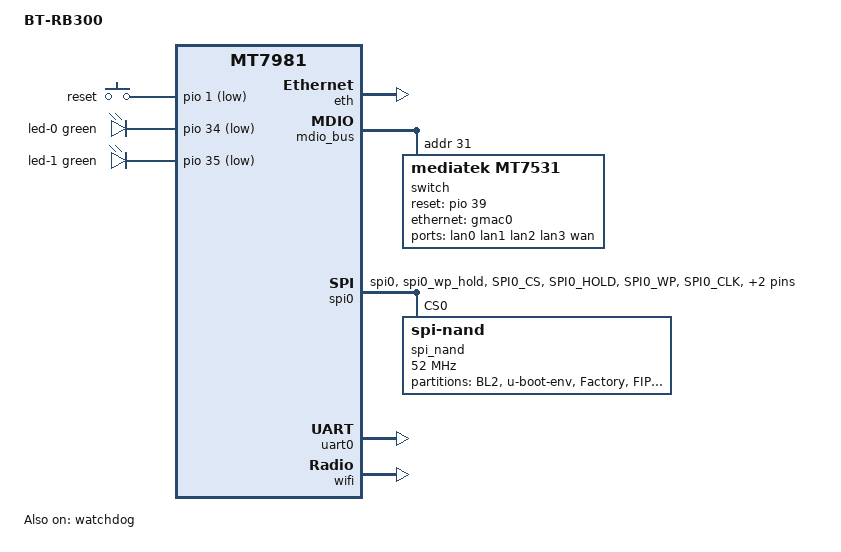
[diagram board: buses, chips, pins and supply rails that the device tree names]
// SPDX-License-Identifier: GPL-2.0-only OR MIT

/dts-v1/;
#include <dt-bindings/gpio/gpio.h>
#include <dt-bindings/input/input.h>
#include <dt-bindings/leds/common.h>

#include "mt7981b.dtsi"

/ {
	model = "BT-RB300";
	compatible = "bt,rb300", "mediatek,mt7981";

	aliases {
		label-mac-device = &gmac0;
		serial0 = &uart0;
	};

	chosen {
		rootdisk = <&ubi_rootdisk>;
		stdout-path = "serial0:115200n8";
	};

	gpio-keys {
		compatible = "gpio-keys";

		reset {
			label = "reset";
			gpios = <&pio 1 GPIO_ACTIVE_LOW>;
			linux,code = <KEY_RESTART>;
			debounce-interval = <60>;
		};
	};

	leds {
		compatible = "gpio-leds";

		led-0 {
			color = <LED_COLOR_ID_GREEN>;
			function = LED_FUNCTION_WLAN_2GHZ;
			gpios = <&pio 34 GPIO_ACTIVE_LOW>;
			linux,default-trigger = "phy0tpt";
		};

		led-1 {
			color = <LED_COLOR_ID_GREEN>;
			function = LED_FUNCTION_WLAN_5GHZ;
			gpios = <&pio 35 GPIO_ACTIVE_LOW>;
			linux,default-trigger = "phy1tpt";
		};
	};
};

&eth {
	status = "okay";

	gmac0: mac@0 {
		compatible = "mediatek,eth-mac";
		reg = <0>;
		phy-mode = "2500base-x";

		nvmem-cell-names = "mac-address";
		nvmem-cells = <&macaddr_factory_2a 0>;

		fixed-link {
			speed = <2500>;
			full-duplex;
			pause;
		};
	};
};

&mdio_bus {
	switch: switch@1f {
		compatible = "mediatek,mt7531";
		reg = <0x1f>;
		reset-gpios = <&pio 39 GPIO_ACTIVE_HIGH>;

		ports {
			#address-cells = <1>;
			#size-cells = <0>;

			port@0 {
				reg = <0>;
				label = "lan0";
			};

			port@1 {
				reg = <1>;
				label = "lan1";
			};

			port@2 {
				reg = <2>;
				label = "lan2";
			};

			port@3 {
				reg = <3>;
				label = "lan3";
			};

			port@4 {
				reg = <4>;
				label = "wan";

				nvmem-cell-names = "mac-address";
				nvmem-cells = <&macaddr_factory_24 0>;
			};

			port@6 {
				reg = <6>;
				ethernet = <&gmac0>;
				phy-mode = "2500base-x";

				fixed-link {
					speed = <2500>;
					full-duplex;
					pause;
				};
			};
		};
	};
};

&spi0 {
	pinctrl-names = "default";
	pinctrl-0 = <&spi0_flash_pins>;
	status = "okay";

	spi_nand: flash@0 {
		compatible = "spi-nand";
		reg = <0>;

		spi-max-frequency = <52000000>;
		spi-tx-bus-width = <4>;
		spi-rx-bus-width = <4>;

		mediatek,nmbm;
		mediatek,bmt-max-ratio = <1>;
		mediatek,bmt-max-reserved-blocks = <64>;

		partitions {
			compatible = "fixed-partitions";
			#address-cells = <1>;
			#size-cells = <1>;

			partition@0 {
				label = "BL2";
				reg = <0x000000 0x100000>;
				read-only;
			};

			partition@100000 {
				label = "u-boot-env";
				reg = <0x100000 0x080000>;
			};

			partition@180000 {
				label = "Factory";
				reg = <0x180000 0x200000>;
				read-only;

				nvmem-layout {
					compatible = "fixed-layout";
					#address-cells = <1>;
					#size-cells = <1>;

					eeprom_factory_0: eeprom@0 {
						reg = <0x0 0x1000>;
					};

					macaddr_factory_24: macaddr@24 {
						compatible = "mac-base";
						reg = <0x24 0x6>;
						#nvmem-cell-cells = <1>;
					};

					macaddr_factory_2a: macaddr@2a {
						compatible = "mac-base";
						reg = <0x2a 0x6>;
						#nvmem-cell-cells = <1>;
					};
				};
			};

			partition@380000 {
				label = "FIP";
				reg = <0x380000 0x200000>;
				read-only;
			};

			ubi: partition@580000 {
				label = "ubi";
				reg = <0x580000 0x7200000>;
				compatible = "linux,ubi";

				volumes {
					ubi_rootdisk: ubi-volume-fit {
						volname = "fit";
					};

					ubi_ubootenv: ubi-volume-ubootenv {
						volname = "ubootenv";
					};

					ubi_ubootenv2: ubi-volume-ubootenv2 {
						volname = "ubootenv2";
					};
				};
			};
		};
	};
};

&pio {
	spi0_flash_pins: spi0-pins {
		mux {
			function = "spi";
			groups = "spi0", "spi0_wp_hold";
		};

		conf-pu {
			pins = "SPI0_CS", "SPI0_HOLD", "SPI0_WP";
			drive-strength = <MTK_DRIVE_4mA>;
			bias-pull-up = <MTK_PUPD_SET_R1R0_11>;
		};

		conf-pd {
			pins = "SPI0_CLK", "SPI0_MOSI", "SPI0_MISO";
			drive-strength = <MTK_DRIVE_4mA>;
			bias-pull-down = <MTK_PUPD_SET_R1R0_11>;
		};
	};
};

&uart0 {
	status = "okay";
};

&ubi_ubootenv {
	nvmem-layout {
		compatible = "u-boot,env-redundant-bool";
	};
};

&ubi_ubootenv2 {
	nvmem-layout {
		compatible = "u-boot,env-redundant-bool";
	};
};

&watchdog {
	status = "okay";
};

&wifi {
	status = "okay";
	nvmem-cell-names = "eeprom";
	nvmem-cells = <&eeprom_factory_0>;
};
